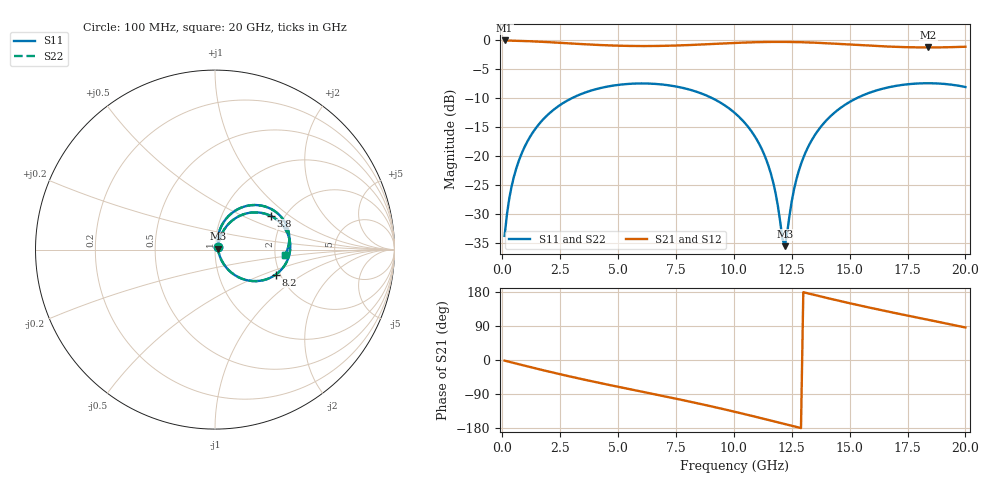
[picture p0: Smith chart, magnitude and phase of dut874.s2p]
! Touchstone file exported from HFSS 2026.1.0
!  File:  C:/ffzhzh/LocalFiles/Ansys_Project_Files/temp_train_TSV_RDL_874_1783272783_30076.aedt
!  Generated:  01:42:36 AM Jul  6, 2026
!  Design:  TSV_RDL
!  Project:  temp_train_TSV_RDL_874_1783272783_30076
! Variables:
!  h_bsmrdl = 4.35um
!  h_ox = 20um
!  h_rdl = 5um
!  h_sub = 93.42um
!  h_tmrdl = 4.67um
!  h_tsv = 93.42um
!  h_via = 3um
!  l_bsmrdl = 824.78um
!  l_sub = 4390.76um
!  l_tmrdl = 345.91um
!  m_sub = 200um
!  pitch = 50.56um
!  r_tsv = 13.87um
!  s_tmrdl = 10um
!  w_bsmrdl = 29.48um
!  w_sub = 500um
!  w_tmrdl = 14.78um
!  x_tsv_center1 = 353.3um
!  x_tsv_center2 = 1207.56um
!  x_tsv_center3 = 1568.25um
!  x_tsv_center4 = 2422.51um
!  x_tsv_center5 = 2783.2um
!  x_tsv_center6 = 3637.46um
# GHz S MA R 50.000000
! Terminal data exported
! Port[1] = TM_RDL1_1_T1
! Port[2] = TM_RDL5_1_T1
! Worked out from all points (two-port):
!   200 points, 100 MHz to 20 GHz, reference 50 ohm
!   highest |S21| = -0.13 dB at 100 MHz (marker M1); lowest = -1.3 dB at 18.4 GHz (marker M2)
!   |S21| within 3 dB of the highest: start of sweep to end of sweep
!   lowest |S11| = -35.6 dB at 12.2 GHz (marker M3), VSWR 1.03, Z = 51.6 + j0.455 ohm
!   |S11| at or under -10 dB: start of sweep to 3.041 GHz; 9.031 GHz to 15.34 GHz (6.312 GHz wide, 51.8 % of centre)
!   |S22| runs from -35.6 to -7.5 dB; largest |S21 - S12| = 1.6e-14
!   S11 on the Smith chart (normalised r, x): 100 MHz: 1.03, +0.03; 3.8 GHz: 1.70, +0.74; 8.2 GHz: 1.90, -0.61; 20 GHz: 2.27, -0.15
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0.1  0.02045 40.6  0.9848 -1.6  0.9848 -1.6  0.02045 40.6
! Gamma 0 0 0 0
! Port Impedance 50 0 50 0
0.3  0.04278 61.8  0.9822 -4.8  0.9822 -4.8  0.04278 61.8
0.5  0.06591 66.1  0.9798 -7.9  0.9798 -7.9  0.06591 66.1
1.1  0.1348 64.6  0.9714 -17.0  0.9714 -17.0  0.1348 64.6
2.1  0.2386 53.1  0.9498 -31.9  0.9498 -31.9  0.2386 53.1
3.5  0.3462 35.0  0.9145 -51.3  0.9145 -51.3  0.3462 35.0
3.8  0.3629 31.2  0.9078 -55.3  0.9078 -55.3  0.3629 31.2
5.3  0.414 12.8  0.8849 -74.5  0.8849 -74.5  0.414 12.8
6.8  0.4133 -5.2  0.8837 -93.2  0.8837 -93.2  0.4133 -5.2
8.2  0.3661 -22.3  0.9013 -111.2  0.9013 -111.2  0.3661 -22.3
10.1  0.2285 -46.3  0.9385 -137.5  0.9385 -137.5  0.2285 -46.3
10.8  0.1584 -54.4  0.9497 -147.8  0.9497 -147.8  0.1584 -54.5
11.4  0.09274 -58.9  0.9557 -156.8  0.9557 -156.8  0.09272 -59.0
11.8  0.04801 -55.0  0.9574 -162.9  0.9574 -162.9  0.04797 -55.1
12.1  0.01931 -20.4  0.9573 -167.4  0.9573 -167.4  0.01923 -20.5
12.2  0.01669 15.3  0.957 -169.0  0.957 -169.0  0.01661 15.4
12.7  0.06259 76.1  0.9536 -176.6  0.9536 -176.6  0.06258 76.2
13.4  0.1402 74.4  0.9439 172.9  0.9439 172.9  0.1402 74.5
14.7  0.2666 59.4  0.9155 154.0  0.9155 154.0  0.2666 59.4
16.7  0.3898 34.7  0.8719 127.3  0.8719 127.3  0.3899 34.7
18.4  0.4219 14.6  0.8575 106.0  0.8575 106.0  0.4219 14.6
20  0.3915 -4.2  0.8696 85.8  0.8696 85.8  0.3915 -4.3
